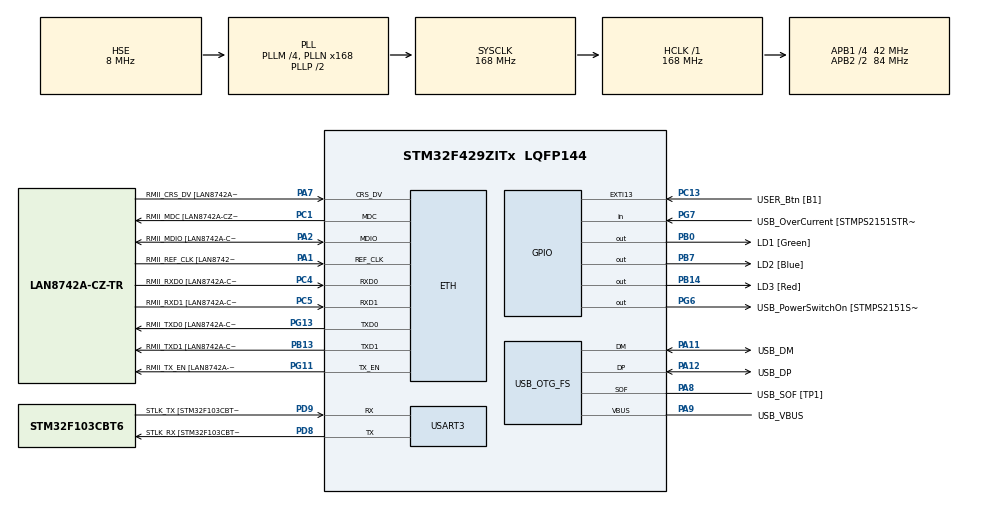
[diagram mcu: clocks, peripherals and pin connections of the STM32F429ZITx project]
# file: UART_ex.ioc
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ETH.MediaInterface=HAL_ETH_RMII_MODE
ETH.PHY_Name=LAN8742A_PHY_ADDRESS
ETH.PHY_Value=0
ETH.PhyAddress=0
Mcu.Family=STM32F4
Mcu.Name=STM32F429ZITx
Mcu.Package=LQFP144
NVIC.PriorityGroup=NVIC_PRIORITYGROUP_4
NVIC.USART3_IRQn=true\:0\:0\:false\:true\:true\:1\:true\:true\:true
PA1.GPIO_Label=RMII_REF_CLK [LAN8742A-CZ-TR_REFCLK0]
PA1.Mode=RMII
PA1.Signal=ETH_REF_CLK
PA10.GPIO_Label=USB_ID
PA10.Signal=USB_OTG_FS_ID
PA11.GPIO_Label=USB_DM
PA11.Mode=Device_Only
PA11.Signal=USB_OTG_FS_DM
PA12.GPIO_Label=USB_DP
PA12.Mode=Device_Only
PA12.Signal=USB_OTG_FS_DP
PA13.GPIO_Label=TMS
PA13.Mode=Serial_Wire
PA13.Signal=SYS_JTMS-SWDIO
PA14.GPIO_Label=TCK
PA14.Mode=Serial_Wire
PA14.Signal=SYS_JTCK-SWCLK
PA2.GPIO_Label=RMII_MDIO [LAN8742A-CZ-TR_MDIO]
PA2.Mode=RMII
PA2.Signal=ETH_MDIO
PA7.GPIO_Label=RMII_CRS_DV [LAN8742A-CZ-TR_CRS_DV]
PA7.Mode=RMII
PA7.Signal=ETH_CRS_DV
PA8.GPIO_Label=USB_SOF [TP1]
PA8.Mode=Activate_SOF_FS
PA8.Signal=USB_OTG_FS_SOF
PA9.GPIO_Label=USB_VBUS
PA9.Mode=Activate_VBUS
PA9.Signal=USB_OTG_FS_VBUS
PB0.GPIO_Label=LD1 [Green]
PB0.Signal=GPIO_Output
PB13.GPIO_Label=RMII_TXD1 [LAN8742A-CZ-TR_TXD1]
PB13.Mode=RMII
PB13.Signal=ETH_TXD1
PB14.GPIO_Label=LD3 [Red]
PB14.Signal=GPIO_Output
PB7.GPIO_Label=LD2 [Blue]
PB7.Signal=GPIO_Output
PC1.GPIO_Label=RMII_MDC [LAN8742A-CZ-TR_MDC]
PC1.Mode=RMII
PC1.Signal=ETH_MDC
PC13.GPIO_Label=USER_Btn [B1]
PC13.Signal=GPXTI13
PC14/OSC32_IN.Mode=LSE-External-Oscillator
PC14/OSC32_IN.Signal=RCC_OSC32_IN
PC15/OSC32_OUT.Mode=LSE-External-Oscillator
PC15/OSC32_OUT.Signal=RCC_OSC32_OUT
PC4.GPIO_Label=RMII_RXD0 [LAN8742A-CZ-TR_RXD0]
PC4.Mode=RMII
PC4.Signal=ETH_RXD0
PC5.GPIO_Label=RMII_RXD1 [LAN8742A-CZ-TR_RXD1]
PC5.Mode=RMII
PC5.Signal=ETH_RXD1
PD8.GPIO_Label=STLK_RX [STM32F103CBT6_PA3]
PD8.Mode=Asynchronous
PD8.Signal=USART3_TX
PD9.GPIO_Label=STLK_TX [STM32F103CBT6_PA2]
PD9.Mode=Asynchronous
PD9.Signal=USART3_RX
PG11.GPIO_Label=RMII_TX_EN [LAN8742A-CZ-TR_TXEN]
PG11.Mode=RMII
PG11.Signal=ETH_TX_EN
PG13.GPIO_Label=RMII_TXD0 [LAN8742A-CZ-TR_TXD0]
PG13.Mode=RMII
PG13.Signal=ETH_TXD0
PG6.GPIO_Label=USB_PowerSwitchOn [STMPS2151STR_EN]
PG6.Signal=GPIO_Output
PG7.GPIO_Label=USB_OverCurrent [STMPS2151STR_FAULT]
PG7.Signal=GPIO_Input
PH0/OSC_IN.GPIO_Label=MCO [STM32F103CBT6_PA8]
PH0/OSC_IN.Mode=HSE-External-Clock-Source
PH0/OSC_IN.Signal=RCC_OSC_IN
PH1/OSC_OUT.Mode=HSE-External-Clock-Source
PH1/OSC_OUT.Signal=RCC_OSC_OUT
ProjectManager.HeapSize=0x200
ProjectManager.StackSize=0x400
ProjectManager.TargetToolchain=STM32CubeIDE
RCC.48MHZClocksFreq_Value=48000000
RCC.AHBFreq_Value=168000000
RCC.APB1CLKDivider=RCC_HCLK_DIV4
RCC.APB1Freq_Value=42000000
RCC.APB1TimFreq_Value=84000000
RCC.APB2CLKDivider=RCC_HCLK_DIV2
RCC.APB2Freq_Value=84000000
RCC.APB2TimCLKDivider=2
RCC.APB2TimFreq_Value=168000000
RCC.CortexFreq_Value=168000000
RCC.HCLKFreq_Value=168000000
RCC.HSE_VALUE=8000000
RCC.HSI_VALUE=16000000
RCC.PLLM=4
RCC.PLLMUL=RCC_PLL_MUL9
RCC.PLLN=168
RCC.PLLQ=7
RCC.PRESCALERUSB=RCC_USBCLKSOURCE_PLL_DIV1_5
RCC.SYSCLKFreq_VALUE=168000000
RCC.SYSCLKSource=RCC_SYSCLKSOURCE_PLLCLK
RCC.SYSCLKSourceVirtual=RCC_SYSCLKSOURCE_PLLCLK
RCC.USBFreq_Value=48000000
RCC.VCOOutputFreq_Value=336000000
USART3.VirtualMode=VM_ASYNC
USB_OTG_FS.VirtualMode=Device_Only
board=NUCLEO-F429ZI

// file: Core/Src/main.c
/* USER CODE BEGIN Header */
/**
  ******************************************************************************
  * @file           : main.c
  * @brief          : Main program body
  ******************************************************************************
  * @attention
  *
  * Copyright (c) 2023 STMicroelectronics.
  * All rights reserved.
  *
  * This software is licensed under terms that can be found in the LICENSE file
  * in the root directory of this software component.
  * If no LICENSE file comes with this software, it is provided AS-IS.
  *
  ******************************************************************************
  */
/* USER CODE END Header */
#include "main.h"
#include "string.h"

/* USER CODE BEGIN Includes */
#include "stdio.h"
#include "string.h"
/* USER CODE END Includes */

/* USER CODE BEGIN PTD */
uint8_t rx_data;

/* USER CODE END PTD */

ETH_TxPacketConfig TxConfig;
ETH_DMADescTypeDef  DMARxDscrTab[ETH_RX_DESC_CNT]; /* Ethernet Rx DMA Descriptors */
ETH_DMADescTypeDef  DMATxDscrTab[ETH_TX_DESC_CNT]; /* Ethernet Tx DMA Descriptors */

ETH_HandleTypeDef heth;

UART_HandleTypeDef huart3;

PCD_HandleTypeDef hpcd_USB_OTG_FS;

/* USER CODE BEGIN PV */
char uart_buf[30];

/* USER CODE END PV */

void SystemClock_Config(void);
static void MX_GPIO_Init(void);
static void MX_ETH_Init(void);
static void MX_USART3_UART_Init(void);
static void MX_USB_OTG_FS_PCD_Init(void);
static void MX_NVIC_Init(void);
/* USER CODE BEGIN PFP */
int _write(int file, char *ptr, int len) {
	HAL_UART_Transmit(&huart3, (uint8_t *)ptr, len, 500);
	return len;
}

int __io_putchar(int ch) {
	HAL_UART_Transmit(&huart3, (uint8_t *)&ch, 1, 1000);
	return ch;
}

/* USER CODE END PFP */

/* USER CODE BEGIN 0 */
uint8_t data[] = "Hello STM32F429 World !!! \r\n";

/* USER CODE END 0 */

int main(void)
{

  /* MCU Configuration--------------------------------------------------------*/

  /* Reset of all peripherals, Initializes the Flash interface and the Systick. */
  HAL_Init();

  /* Configure the system clock */
  SystemClock_Config();

  /* Initialize all configured peripherals */
  MX_GPIO_Init();
  MX_ETH_Init();
  MX_USART3_UART_Init();
  MX_USB_OTG_FS_PCD_Init();

  /* Initialize interrupts */
  MX_NVIC_Init();
  /* USER CODE BEGIN 2 */
//  int count = 0;
  HAL_UART_Receive_IT(&huart3, (uint8_t *)&rx_data, 1);
  /* USER CODE END 2 */

  /* Infinite loop */
  /* USER CODE BEGIN WHILE */
  while (1)
  {
//	  printf("USART print test count=%d\r\n", count++);
//	  HAL_Delay(500);

	  //echo -> 출력
	  // 조건?�� ?��?�� 1?��?��?�� 반복 출력?��?��?��, ?��?�� ?��?��?��?�� 코드?�� ?��?��
//	  if(HAL_UART_Receive(&huart3, (uint8_t *)&data, sizeof(data), 500)) {
//		  HAL_UART_Transmit(&huart3, (uint8_t *)&data, sizeof(data), 500);
//		  HAL_GPIO_TogglePin(GPIOB, LD1_Pin|LD2_Pin|LD3_Pin);
//	  }

	  //Polling Mode ?��출력 ?��?��
	  // �??�� ?��?��?��?���? ?�� 받아졌으�?
//	  if(HAL_UART_Receive(&huart3, (uint8_t *)&uart_buf, 1, 1000) == HAL_OK) {
//		  //transmit ?��출해?�� console?�� 보여�?
//		  HAL_UART_Transmit(&huart3, (uint8_t *)&uart_buf, 1, 1000);
//	  }

    /* USER CODE END WHILE */

  }
}

void SystemClock_Config(void)
{
  RCC_OscInitTypeDef RCC_OscInitStruct = {0};
  RCC_ClkInitTypeDef RCC_ClkInitStruct = {0};

  /** Configure the main internal regulator output voltage
  */
  __HAL_RCC_PWR_CLK_ENABLE();
  __HAL_PWR_VOLTAGESCALING_CONFIG(PWR_REGULATOR_VOLTAGE_SCALE1);

  /** Initializes the RCC Oscillators according to the specified parameters
  * in the RCC_OscInitTypeDef structure.
  */
  RCC_OscInitStruct.OscillatorType = RCC_OSCILLATORTYPE_HSE;
  RCC_OscInitStruct.HSEState = RCC_HSE_BYPASS;
  RCC_OscInitStruct.PLL.PLLState = RCC_PLL_ON;
  RCC_OscInitStruct.PLL.PLLSource = RCC_PLLSOURCE_HSE;
  RCC_OscInitStruct.PLL.PLLM = 4;
  RCC_OscInitStruct.PLL.PLLN = 168;
  RCC_OscInitStruct.PLL.PLLP = RCC_PLLP_DIV2;
  RCC_OscInitStruct.PLL.PLLQ = 7;
  if (HAL_RCC_OscConfig(&RCC_OscInitStruct) != HAL_OK)
  {
    Error_Handler();
  }

  /** Initializes the CPU, AHB and APB buses clocks
  */
  RCC_ClkInitStruct.ClockType = RCC_CLOCKTYPE_HCLK|RCC_CLOCKTYPE_SYSCLK
                              |RCC_CLOCKTYPE_PCLK1|RCC_CLOCKTYPE_PCLK2;
  RCC_ClkInitStruct.SYSCLKSource = RCC_SYSCLKSOURCE_PLLCLK;
  RCC_ClkInitStruct.AHBCLKDivider = RCC_SYSCLK_DIV1;
  RCC_ClkInitStruct.APB1CLKDivider = RCC_HCLK_DIV4;
  RCC_ClkInitStruct.APB2CLKDivider = RCC_HCLK_DIV2;

  if (HAL_RCC_ClockConfig(&RCC_ClkInitStruct, FLASH_LATENCY_5) != HAL_OK)
  {
    Error_Handler();
  }
}

/**
  * @brief NVIC Configuration.
  * @retval None
  */
static void MX_NVIC_Init(void)
{
  /* USART3_IRQn interrupt configuration */
  HAL_NVIC_SetPriority(USART3_IRQn, 0, 0);
  HAL_NVIC_EnableIRQ(USART3_IRQn);
}

static void MX_ETH_Init(void)
{

   static uint8_t MACAddr[6];

  heth.Instance = ETH;
  MACAddr[0] = 0x00;
  MACAddr[1] = 0x80;
  MACAddr[2] = 0xE1;
  MACAddr[3] = 0x00;
  MACAddr[4] = 0x00;
  MACAddr[5] = 0x00;
  heth.Init.MACAddr = &MACAddr[0];
  heth.Init.MediaInterface = HAL_ETH_RMII_MODE;
  heth.Init.TxDesc = DMATxDscrTab;
  heth.Init.RxDesc = DMARxDscrTab;
  heth.Init.RxBuffLen = 1524;

  if (HAL_ETH_Init(&heth) != HAL_OK)
  {
    Error_Handler();
  }

  memset(&TxConfig, 0 , sizeof(ETH_TxPacketConfig));
  TxConfig.Attributes = ETH_TX_PACKETS_FEATURES_CSUM | ETH_TX_PACKETS_FEATURES_CRCPAD;
  TxConfig.ChecksumCtrl = ETH_CHECKSUM_IPHDR_PAYLOAD_INSERT_PHDR_CALC;
  TxConfig.CRCPadCtrl = ETH_CRC_PAD_INSERT;

}

static void MX_USART3_UART_Init(void)
{

  huart3.Instance = USART3;
  huart3.Init.BaudRate = 115200;
  huart3.Init.WordLength = UART_WORDLENGTH_8B;
  huart3.Init.StopBits = UART_STOPBITS_1;
  huart3.Init.Parity = UART_PARITY_NONE;
  huart3.Init.Mode = UART_MODE_TX_RX;
  huart3.Init.HwFlowCtl = UART_HWCONTROL_NONE;
  huart3.Init.OverSampling = UART_OVERSAMPLING_16;
  if (HAL_UART_Init(&huart3) != HAL_OK)
  {
    Error_Handler();
  }

}

static void MX_USB_OTG_FS_PCD_Init(void)
{

  hpcd_USB_OTG_FS.Instance = USB_OTG_FS;
  hpcd_USB_OTG_FS.Init.dev_endpoints = 4;
  hpcd_USB_OTG_FS.Init.speed = PCD_SPEED_FULL;
  hpcd_USB_OTG_FS.Init.dma_enable = DISABLE;
  hpcd_USB_OTG_FS.Init.phy_itface = PCD_PHY_EMBEDDED;
  hpcd_USB_OTG_FS.Init.Sof_enable = ENABLE;
  hpcd_USB_OTG_FS.Init.low_power_enable = DISABLE;
  hpcd_USB_OTG_FS.Init.lpm_enable = DISABLE;
  hpcd_USB_OTG_FS.Init.vbus_sensing_enable = ENABLE;
  hpcd_USB_OTG_FS.Init.use_dedicated_ep1 = DISABLE;
  if (HAL_PCD_Init(&hpcd_USB_OTG_FS) != HAL_OK)
  {
    Error_Handler();
  }

}

static void MX_GPIO_Init(void)
{
  GPIO_InitTypeDef GPIO_InitStruct = {0};

  /* GPIO Ports Clock Enable */
  __HAL_RCC_GPIOC_CLK_ENABLE();
  __HAL_RCC_GPIOH_CLK_ENABLE();
  __HAL_RCC_GPIOA_CLK_ENABLE();
  __HAL_RCC_GPIOB_CLK_ENABLE();
  __HAL_RCC_GPIOD_CLK_ENABLE();
  __HAL_RCC_GPIOG_CLK_ENABLE();

  /*Configure GPIO pin Output Level */
  HAL_GPIO_WritePin(GPIOB, LD1_Pin|LD3_Pin|LD2_Pin, GPIO_PIN_RESET);

  /*Configure GPIO pin Output Level */
  HAL_GPIO_WritePin(USB_PowerSwitchOn_GPIO_Port, USB_PowerSwitchOn_Pin, GPIO_PIN_RESET);

  /*Configure GPIO pin : USER_Btn_Pin */
  GPIO_InitStruct.Pin = USER_Btn_Pin;
  GPIO_InitStruct.Mode = GPIO_MODE_IT_RISING;
  GPIO_InitStruct.Pull = GPIO_NOPULL;
  HAL_GPIO_Init(USER_Btn_GPIO_Port, &GPIO_InitStruct);

  /*Configure GPIO pins : LD1_Pin LD3_Pin LD2_Pin */
  GPIO_InitStruct.Pin = LD1_Pin|LD3_Pin|LD2_Pin;
  GPIO_InitStruct.Mode = GPIO_MODE_OUTPUT_PP;
  GPIO_InitStruct.Pull = GPIO_NOPULL;
  GPIO_InitStruct.Speed = GPIO_SPEED_FREQ_LOW;
  HAL_GPIO_Init(GPIOB, &GPIO_InitStruct);

  /*Configure GPIO pin : USB_PowerSwitchOn_Pin */
  GPIO_InitStruct.Pin = USB_PowerSwitchOn_Pin;
  GPIO_InitStruct.Mode = GPIO_MODE_OUTPUT_PP;
  GPIO_InitStruct.Pull = GPIO_NOPULL;
  GPIO_InitStruct.Speed = GPIO_SPEED_FREQ_LOW;
  HAL_GPIO_Init(USB_PowerSwitchOn_GPIO_Port, &GPIO_InitStruct);

  /*Configure GPIO pin : USB_OverCurrent_Pin */
  GPIO_InitStruct.Pin = USB_OverCurrent_Pin;
  GPIO_InitStruct.Mode = GPIO_MODE_INPUT;
  GPIO_InitStruct.Pull = GPIO_NOPULL;
  HAL_GPIO_Init(USB_OverCurrent_GPIO_Port, &GPIO_InitStruct);

}

/* USER CODE BEGIN 4 */
void HAL_UART_RxCpltCallback(UART_HandleTypeDef *huart) {
	if (huart->Instance == USART3) {
		HAL_UART_Receive_IT(&huart3, (uint8_t *)&rx_data, 1);
		HAL_UART_Transmit(&huart3, (uint8_t *)&rx_data, 1, 500);
	}
}
/* USER CODE END 4 */

void Error_Handler(void)
{
  __disable_irq();
  while (1)
  {
  }
}
